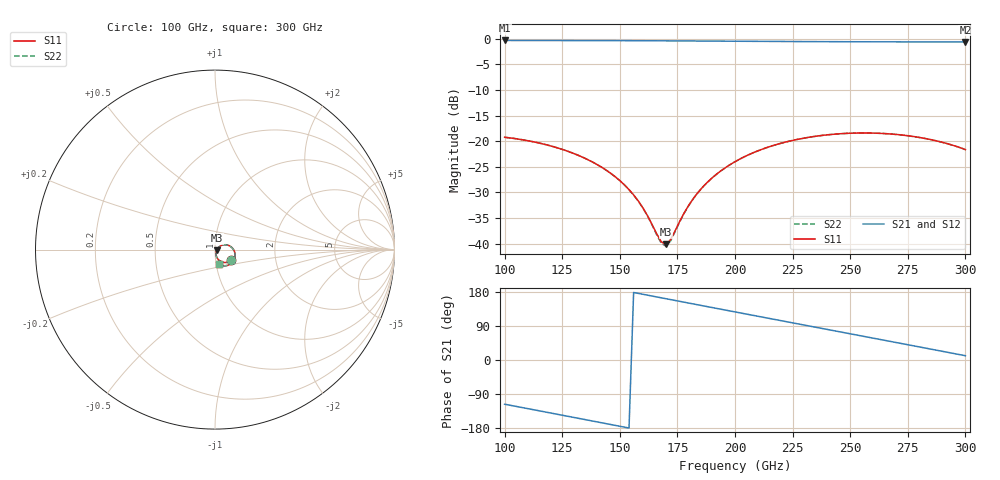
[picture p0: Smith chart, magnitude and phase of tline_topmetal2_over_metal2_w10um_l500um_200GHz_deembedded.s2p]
! Created with skrf 2.2.0 (http://scikit-rf.org).
# GHz S DB R 50.0
! Port[1] = P1
! Port[2] = P2
!freq dBS11 angS11 dBS21 angS21 dBS12 angS12 dBS22 angS22
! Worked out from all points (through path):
!   101 points, 100 GHz to 300 GHz, reference 50 ohm
!   highest |S21| = -0.36 dB at 100 GHz (marker M1); lowest = -0.6 dB at 300 GHz (marker M2)
!   group delay of S21, straight-line fit = 3.22 ps
!   lowest |S11| = -40.1 dB at 170 GHz (marker M3), VSWR 1.02, Z = 50.9 - j0.324 ohm
!   |S11| at or under -10 dB: start of sweep to end of sweep
!   |S22| runs from -40.5 to -18.4 dB; largest |S21 - S12| = 1.1e-14
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100  -19.24 -33.0  -0.36 -116.7  -0.36 -116.7  -19.23 -33.4
108  -19.74 -41.0  -0.37 -125.9  -0.37 -125.9  -19.74 -41.5
118  -20.69 -51.0  -0.37 -137.6  -0.37 -137.6  -20.68 -51.5
134  -23.15 -65.9  -0.38 -156.2  -0.38 -156.2  -23.15 -66.6
146  -26.25 -75.2  -0.40 -170.2  -0.40 -170.2  -26.25 -76.1
154  -29.44 -78.4  -0.41 -179.5  -0.41 -179.5  -29.45 -79.5
160  -32.98 -75.8  -0.42 173.5  -0.42 173.5  -33.03 -77.2
168  -39.61 -40.4  -0.43 164.1  -0.43 164.1  -39.90 -41.7
170  -40.13 -18.8  -0.44 161.8  -0.44 161.8  -40.47 -19.3
172  -39.20 1.6  -0.44 159.5  -0.44 159.5  -39.48 1.9
178  -33.93 29.6  -0.46 152.5  -0.46 152.5  -34.01 29.9
184  -29.96 34.2  -0.47 145.5  -0.47 145.5  -30.00 34.3
192  -26.43 31.5  -0.50 136.2  -0.50 136.2  -26.44 31.4
200  -24.00 25.5  -0.52 126.9  -0.52 126.9  -24.01 25.2
208  -22.23 18.2  -0.53 117.7  -0.53 117.7  -22.24 17.9
218  -20.65 8.4  -0.56 106.1  -0.56 106.1  -20.66 7.9
234  -19.11 -8.0  -0.59 87.6  -0.59 87.6  -19.11 -8.6
250  -18.45 -24.6  -0.61 69.2  -0.61 69.2  -18.45 -25.2
258  -18.40 -32.9  -0.62 59.9  -0.62 59.9  -18.41 -33.5
268  -18.61 -43.1  -0.63 48.4  -0.63 48.4  -18.62 -43.8
284  -19.60 -59.1  -0.64 29.9  -0.64 29.9  -19.61 -59.8
300  -21.63 -74.0  -0.65 11.3  -0.65 11.3  -21.64 -74.8
